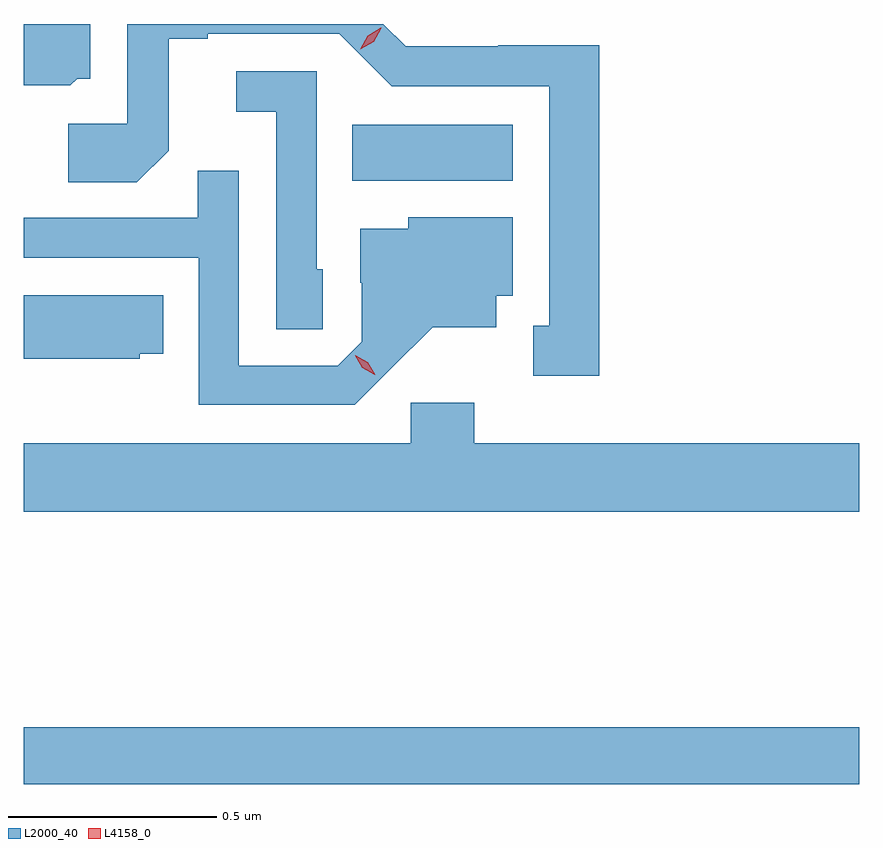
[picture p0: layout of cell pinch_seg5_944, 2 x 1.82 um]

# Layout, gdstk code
import gdstk
lib = gdstk.Library(unit=1e-6, precision=1e-09)
def R(c, l, rs):  # rectangles x0, y0, x1, y1
    for r in rs: c.add(gdstk.rectangle(r[:2], r[2:], *l))
def P(c, l, *ps):  # polygons
    for p in ps: c.add(gdstk.Polygon(p, *l))
L2000_40 = (2000, 40)
L4158_0 = (4158, 0)

pinch_seg5_944 = lib.new_cell('pinch_seg5_944')
R(pinch_seg5_944, L2000_40, [(683.368,910.72,685.368,910.856), (684.154,912.164,684.538,912.298)])
P(pinch_seg5_944, L2000_40, [(684.745,912.488),(684.504,912.488),(684.504,912.486),(684.282,912.486),(684.229,912.539),(683.616,912.539),(683.616,912.3),(683.475,912.3),(683.475,912.16),(683.639,912.16),(683.715,912.236),(683.715,912.504),(683.809,912.504),(683.809,912.516),(684.123,912.516),(684.249,912.39),(684.626,912.39),(684.626,911.817),(684.587,911.817),(684.587,911.697),(684.745,911.697)],
  [(683.496,912.408),(683.527,912.408),(683.527,912.539),(683.368,912.539),(683.368,912.392),(683.48,912.392)],
  [(684.084,911.952),(684.069,911.952),(684.069,912.426),(683.877,912.426),(683.877,912.329),(683.973,912.329),(683.973,911.809),(684.084,911.809)],
  [(684.244,911.711),(684.347,911.813),(684.499,911.813),(684.499,911.889),(684.538,911.889),(684.538,912.076),(684.288,912.076),(684.288,912.049),(684.173,912.049),(684.173,911.92),(684.177,911.92),(684.177,911.778),(684.12,911.721),(683.883,911.721),(683.883,912.188),(683.785,912.188),(683.785,912.075),(683.368,912.075),(683.368,911.979),(683.787,911.979),(683.787,911.628),(684.16,911.628)],
  [(683.646,911.75),(683.702,911.75),(683.702,911.89),(683.368,911.89),(683.368,911.738),(683.646,911.738)],
  [(685.368,911.536),(684.446,911.536),(684.446,911.632),(684.294,911.632),(684.294,911.536),(683.368,911.536),(683.368,911.372),(685.368,911.372)])
P(pinch_seg5_944, L4158_0, [(684.174,912.478),(684.174,912.479),(684.192,912.511),(684.223,912.53),(684.224,912.53),(684.224,912.529),(684.206,912.497),(684.174,912.478)],
  [(684.208,911.7),(684.178,911.716),(684.161,911.745),(684.161,911.746),(684.161,911.746),(684.192,911.73),(684.209,911.7),(684.209,911.7)])

lib.write_gds('pinch_seg5_944.gds')
